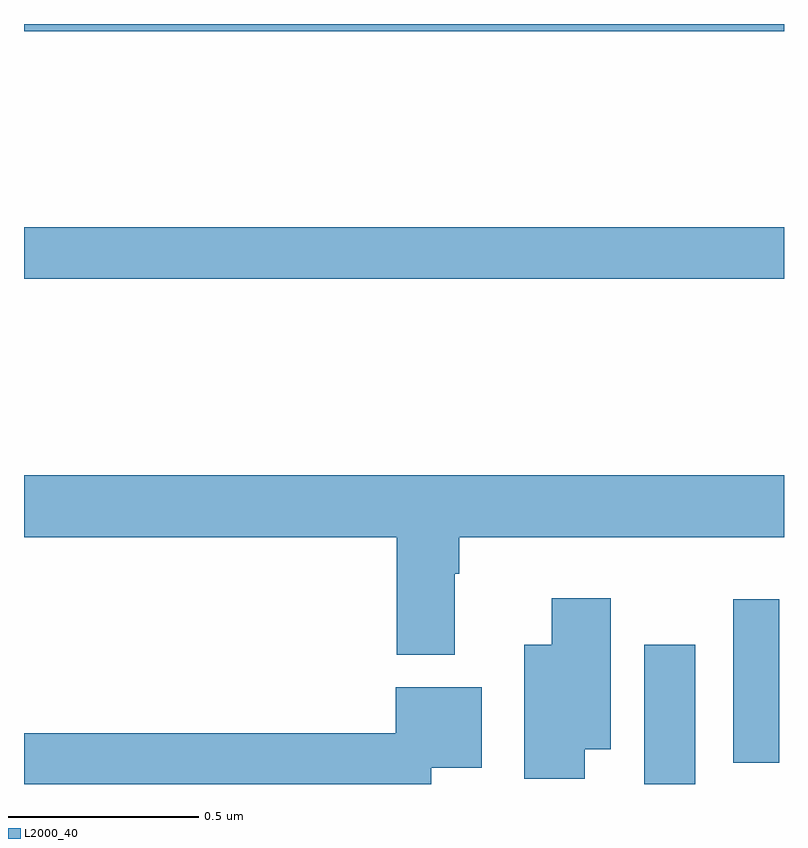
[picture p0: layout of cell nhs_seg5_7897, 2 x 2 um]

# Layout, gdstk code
import gdstk
lib = gdstk.Library(unit=1e-6, precision=1e-09)
def R(c, l, rs):  # rectangles x0, y0, x1, y1
    for r in rs: c.add(gdstk.rectangle(r[:2], r[2:], *l))
def P(c, l, *ps):  # polygons
    for p in ps: c.add(gdstk.Polygon(p, *l))
L2000_40 = (2000, 40)

nhs_seg5_7897 = lib.new_cell('nhs_seg5_7897')
R(nhs_seg5_7897, L2000_40, [(216.632,834.799,216.766,835.165), (216.866,834.855,216.988,835.285), (215,836.128,217,836.264), (215,836.78,217,836.799)])
P(nhs_seg5_7897, L2000_40, [(216.133,835.352),(216.146,835.352),(216.146,835.448),(217,835.448),(217,835.612),(215,835.612),(215,835.448),(215.981,835.448),(215.981,835.139),(216.133,835.139)],
  [(216.475,834.89),(216.544,834.89),(216.544,835.288),(216.389,835.288),(216.389,835.165),(216.317,835.165),(216.317,834.813),(216.475,834.813)],
  [(216.072,834.842),(216.205,834.842),(216.205,835.054),(215.978,835.054),(215.978,834.932),(215,834.932),(215,834.799),(216.072,834.799)])

lib.write_gds('nhs_seg5_7897.gds')
